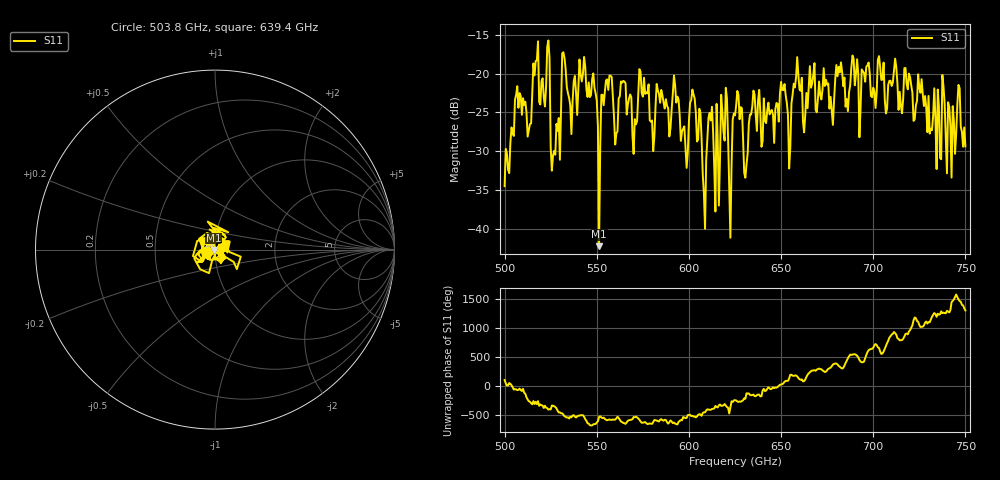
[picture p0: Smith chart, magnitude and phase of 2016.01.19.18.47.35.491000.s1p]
!Created with skrf (http://scikit-rf.org).
# GHz S RI R 50.0
!freq ReS11 ImS11
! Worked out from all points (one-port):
!   401 points, 500 GHz to 750 GHz, reference 50 ohm
!   lowest |S11| = -42.2 dB at 551.2 GHz (marker M1), VSWR 1.02, Z = 49.2 - j0.169 ohm
!   |S11| at or under -10 dB: start of sweep to end of sweep
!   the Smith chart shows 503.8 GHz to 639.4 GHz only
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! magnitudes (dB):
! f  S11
! 500 GHz  -34.5
! 506.9 GHz  -21.6
! 513.8 GHz  -26.5
! 516.9 GHz  -18.4
! 523.1 GHz  -16.5
! 526.2 GHz  -30.6
! 531.2 GHz  -17.4
! 548.8 GHz  -21.8
! 551.2 GHz  -42.2
! 556.2 GHz  -22.1
! 560 GHz  -29.1
! 562.5 GHz  -22.9
! 570.6 GHz  -25.9
! 593.8 GHz  -23.0
! 598.1 GHz  -29.4
! 602.5 GHz  -22.7
! 608.1 GHz  -35.4
! 611.2 GHz  -25.1
! 615 GHz  -23.9
! 618.8 GHz  -27.5
! 622.5 GHz  -41.1
! 625 GHz  -25.4
! 630.6 GHz  -33.4
! 634.4 GHz  -24.2
! 656.2 GHz  -22.7
! 687.5 GHz  -21.5
! 718.8 GHz  -22.0
! 750 GHz  -29.4
